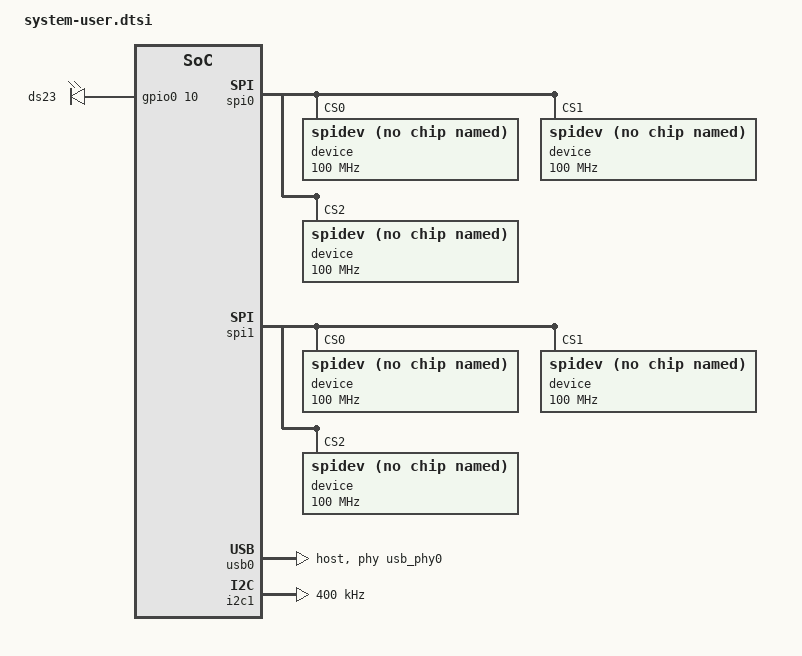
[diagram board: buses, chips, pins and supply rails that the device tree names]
/include/ "system-conf.dtsi"
/ {

	leds {
		compatible = "gpio-leds";

		ds23 {
			label = "ds23";
			gpios = <&gpio0 10 0>;
			linux,default-trigger = "heartbeat";
		};
	};

	usb_phy0: usb_phy@0 {
		compatible = "ulpi-phy";
		#phy-cells = <0>;
		reg = <0xe0002000 0x1000>;
		view-port = <0x0170>;
		drv-vbus;
	};

};

&spi0 {
    device@0 {
        compatible = "spidev";
        reg = <0>;
        spi-max-frequency = <100000000>;
    };
    device@1 {
        compatible = "spidev";
        reg = <1>;
        spi-max-frequency = <100000000>;
    };
    device@2 {
        compatible = "spidev";
        reg = <2>;
        spi-max-frequency = <100000000>;
    };
};

&spi1 {
    device@0 {
        compatible = "spidev";
        reg = <0>;
        spi-max-frequency = <100000000>;
    };
    device@1 {
        compatible = "spidev";
        reg = <1>;
        spi-max-frequency = <100000000>;
    };
    device@2 {
        compatible = "spidev";
        reg = <2>;
        spi-max-frequency = <100000000>;
    };
};

&usb0 {
	dr_mode = "host";
	usb-phy = <&usb_phy0>;
};

&i2c1 {
	clock-frequency = <400000>;
};

&gpio0 {
	pinctrl-names = "default";
	pinctrl-0 = <&pinctrl_gpio0_default>;
};

&pinctrl0 {
	pinctrl_gpio0_default: gpio0-default {
		mux {
			function = "gpio0";
			groups = "gpio0_1_grp", "gpio0_2_grp", "gpio0_3_grp", "gpio0_4_grp", "gpio0_5_grp", "gpio0_6_grp", "gpio0_7_grp", "gpio0_8_grp", "gpio0_10_grp";
		};

		conf {
			groups = "gpio0_1_grp", "gpio0_2_grp", "gpio0_3_grp", "gpio0_4_grp", "gpio0_5_grp", "gpio0_6_grp", "gpio0_7_grp", "gpio0_8_grp", "gpio0_10_grp";
			slew-rate = <0>;
			io-standard = <1>;
		};

		conf-pull-up {
			pins = "MIO10";
			bias-pull-up;
		};
	};
};


